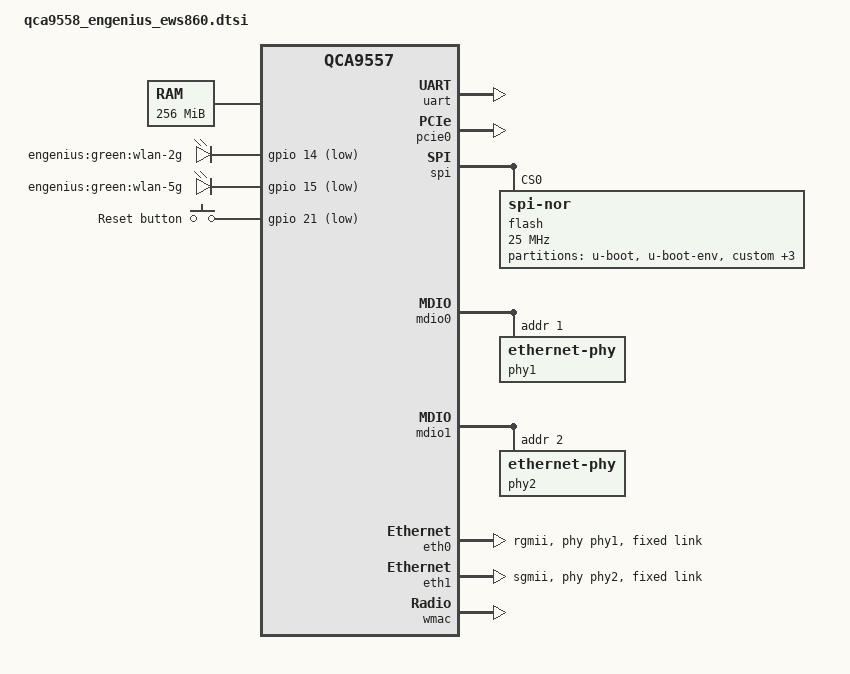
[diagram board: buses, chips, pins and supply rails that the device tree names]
// SPDX-License-Identifier: GPL-2.0-or-later OR MIT
/dts-v1/;

#include <dt-bindings/gpio/gpio.h>
#include <dt-bindings/input/input.h>

#include "qca9557.dtsi"

/ {
	memory@0 {
		device_type = "memory";
		reg = <0x0 0x10000000>;
	};

	chosen {
		bootargs = "console=ttyS0,115200n8";
	};

	leds {
		compatible = "gpio-leds";

		wlan2g {
			label = "engenius:green:wlan-2g";
			gpios = <&gpio 14 GPIO_ACTIVE_LOW>;
			linux,default-trigger = "phy0tpt";
		};

		wlan5g {
			label = "engenius:green:wlan-5g";
			gpios = <&gpio 15 GPIO_ACTIVE_LOW>;
			linux,default-trigger = "phy1tpt";
		};
	};

	keys {
		compatible = "gpio-keys";
		#address-cells = <1>;
		#size-cells = <0>;

		reset {
			label = "Reset button";
			linux,code = <KEY_RESTART>;
			gpios = <&gpio 21 GPIO_ACTIVE_LOW>;
			debounce-interval = <60>;
		};
	};
};

&uart {
	status = "okay";
};

&gpio {
	status = "okay";
};

&pcie0 {
	status = "okay";
};

&spi {
	status = "okay";
	num-cs = <1>;

	flash@0 {
		#address-cells = <1>;
		#size-cells = <1>;
		compatible = "jedec,spi-nor";
		reg = <0>;
		spi-max-frequency = <25000000>;

		partitions {
			compatible = "fixed-partitions";
			#address-cells = <1>;
			#size-cells = <1>;

			uboot:	partition@0 {
				label = "u-boot";
				reg = <0x000000 0x040000>;
				read-only;
			};
			
			partition@40000 {
				label = "u-boot-env";
				reg = <0x040000 0x010000>;
				read-only;
			};

			partition@50000 {
				label = "custom";
				reg = <0x050000 0x050000>;
				read-only;
			};

			partition@a0000 {
				label = "firmware";
				reg = <0x0a0000 0xcd0000>;
			};

			partition@d70000 {
				label = "failsafe";
				reg = <0xd70000 0x280000>;
				read-only;
			};

			partition@ff0000 {
				label = "ART";
				reg = <0xff0000 0x010000>;
				read-only;
			};
		};
	};
};

&mdio0 {
	status = "okay";

	phy1: ethernet-phy@1 {
		reg = <1>;
		phy-mode = "rgmii";
	};
};

&mdio1 {
	status = "okay";

	phy2: ethernet-phy@2 {
		reg = <2>;
		phy-mode = "sgmii";
	};
};

&eth0 {
	status = "okay";

	/*mtd-mac-address = <&uboot 0x1fc00>;
	mtd-mac-address-increment = <1>;*/
	phy-handle = <&phy1>;
	phy-mode = "rgmii";

	fixed-link {
		speed = <1000>;
		full-duplex;
	};
};

&eth1 {
	status = "okay";

	/*mtd-mac-address = <&uboot 0x1fc00>;*/
	phy-handle = <&phy2>;
	phy-mode = "sgmii";

	fixed-link {
		speed = <1000>;
		full-duplex;
	};
};

&wmac {
	status = "okay";
	mtd-cal-data = <&art 0x1000>;
	/*mtd-mac-address = <&uboot 0x1fc00>;*/
};
